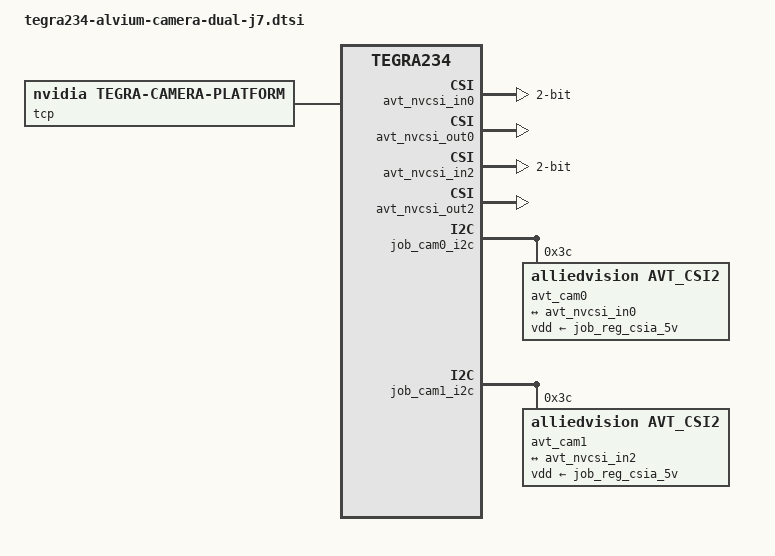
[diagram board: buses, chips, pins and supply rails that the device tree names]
/*
 * Copyright (c) 2022, NVIDIA CORPORATION.  All rights reserved.
 * Copyright (c) 2023 Antmicro <www.antmicro.com>
 * Copyright (c) 2026, University of Washington
 *
 * This program is free software; you can redistribute it and/or modify
 * it under the terms of the GNU General Public License as published by
 * the Free Software Foundation; either version 2 of the License, or
 * (at your option) any later version.
 *
 * This program is distributed in the hope that it will be useful, but WITHOUT
 * ANY WARRANTY; without even the implied warranty of MERCHANTABILITY or
 * FITNESS FOR A PARTICULAR PURPOSE.  See the GNU General Public License for
 * more details.
 *
 * You should have received a copy of the GNU General Public License
 * along with this program.  If not, see <http://www.gnu.org/licenses/>.
 */

/*
 * This DTSI file implements support for dual Allied Vision
 * Alvium 1800-C cameras attached to the J7 connector on the 
 * Antmicro Jetson Orin Baseboard (JOB) via a Capable Robot 
 * Y-flex cable
 *
 * We use only 2 lanes for each camera, independent of where
 * CSI3 is routed with R122/R108
 *
 * ====== Power management ======
 * CSI A and CSA B connectors feature GPIO-controlled 5V and 3V3 power
 * supplies. Alvium cameras use the 5V rails, controlled by following regulators:
 * - job_reg_csia_5v for CSI A
 * - job_reg_csib_5v for CSI B
 *
 *
 * Reset pins of Alvim are not routed on JOB and are pulled high, so GPIO
 * reset functionality is not available (?)
 *
 * Trigger pins for the Alvium are routed on JOB to the following nets:
 *
 * - Camera 0: VSYNC_CAM0_3V3 / VSYNC_CAM0 - SoM pin 114 - GPIO H.6
 * - Camera 1: VSYNC_CAM1_3V3 / VSYNC_CAM1 - SoM pin 120 - GPIO AC.0
 *
 * ====== I2C routing ======
 * - Camera 0: SCL/SDA_CAM0 (job_cam0_i2c)
 * - Camera 1: SCL/SDA_CAM1 (job_cam1_i2c)
 *
 * ====== CSI lane mapping ======
 * - Camera 0: CSI0 = CSI_A [CLK, D0, D1]
 * - Camera 1: CSI2 = CSI_C [CLK, D0, D1]
 *
 * ====== CSI lane polarity ======
 *
 * See Jetson Orin NX Design Guide DG-10931-001 fig.10-1.:
 * - CSI0_D1 is inverted on SoM
 * - CSI1_D0 is inverted on SoM
 */

// Force camera regulators on
&job_reg_csia_5v {
	/* @trisect The current avt_csi2 driver doesn't enable the 
	regulator on startup.

	This forces the regulator ON and keeps it on */
	regulator-always-on;
};

 // Camera nodes
 &job_cam0_i2c {
	status = "okay";

 	avt_cam0: camera@3c {
		status = "okay";
		compatible = "alliedvision,avt_csi2";
		reg = <0x3c>;
		nvidia,no-sensor-bus-introspection;
		vdd-supply = <&job_reg_csia_5v>;

		mode0 {
			mclk_khz = "24000";
			num_lanes = "2";
			tegra_sinterface = "serial_a";
			phy_mode = "DPHY";
			discontinuous_clk = "yes";
			dpcm_enable = "false";
			cil_settletime = "0";
			embedded_metadata_height = "0";

			/*
			 * even with a 2-lane camera this controls the whole
			 * SCIL - 4 lanes of both CSI 0 and CSI 1!
			 */
			lane_polarity = "6";

			csi_pixel_bit_depth = "4";
			active_w = "5488";
			active_h = "4112";
			pixel_t = "bayer_bggr";
			readout_orientation = "0";
			line_length = "5488";
			inherent_gain = "1";
			mclk_multiplier = "31.25";
			pix_clk_hz = "750000000";

			gain_factor = "16";
			framerate_factor = "1000000";
			exposure_factor = "1000000";
			
			min_gain_val = "16"; /* 1.0 */
			max_gain_val = "256"; /* 16.0 */
			step_gain_val = "1"; /* 0.125 */
			default_gain = "16"; /* 1.00x */

			min_hdr_ratio = "1";
			max_hdr_ratio = "64";
			min_framerate = "1500000"; /* 1.5 */
			max_framerate = "30000000"; /* 30 */
			step_framerate = "1";
			default_framerate = "10000000";

			min_exp_time = "34"; /* us */
			max_exp_time = "550385"; /* us */
			step_exp_time = "1";
			default_exp_time = "2495"; /* us */

		};

		ports {
			#address-cells = <1>;
			#size-cells = <0>;

			port@0 {
				reg = <0>;
				avt_cam0_out: endpoint {
					status = "okay";
					port-index = <0>;
					bus-width = <2>;
					data-lanes = <1 2>;
					clock-lanes = <0>;
					link-frequencies = /bits/ 64 <750000000>;
					remote-endpoint = <&avt_nvcsi_in0>;
				};
			};
		};
	};
};

&job_cam1_i2c {
	status = "okay";

	avt_cam1: camera@3c {
		compatible = "alliedvision,avt_csi2";
		reg = <0x3c>;
		nvidia,no-sensor-bus-introspection;
		vdd-supply = <&job_reg_csia_5v>;
		status = "okay";

		mode0 {
			mclk_khz = "24000";
			num_lanes = "2";
			tegra_sinterface = "serial_c";
			phy_mode = "DPHY";
			discontinuous_clk = "yes";
			dpcm_enable = "false";
			cil_settletime = "0";
			embedded_metadata_height = "0";

			csi_pixel_bit_depth = "4";
			active_w = "5488";
			active_h = "4112";
			pixel_t = "bayer_bggr";
			readout_orientation = "0";
			line_length = "5488";
			inherent_gain = "1";
			mclk_multiplier = "31.25";
			pix_clk_hz = "750000000";

			gain_factor = "16";
			framerate_factor = "1000000";
			exposure_factor = "1000000";
				
			min_gain_val = "16"; /* 1.0 */
			max_gain_val = "256"; /* 16.0 */
			step_gain_val = "1"; /* 0.125 */
			default_gain = "16"; /* 1.00x */

			min_hdr_ratio = "1";
			max_hdr_ratio = "64";
			min_framerate = "1500000"; /* 1.5 */
			max_framerate = "30000000"; /* 30 */
			step_framerate = "1";
			default_framerate = "10000000";

			min_exp_time = "34"; /* us */
			max_exp_time = "550385"; /* us */
			step_exp_time = "1";
			default_exp_time = "2495"; /* us */
		};

		ports {
			#address-cells = <1>;
			#size-cells = <0>;

			port@0 {
				reg = <0>;
				avt_cam1_out: endpoint {
					status = "okay";
					port-index = <2>;
					bus-width = <2>;
					data-lanes = <1 2>;
					clock-lanes = <0>;
					link-frequencies = /bits/ 64 <750000000>;
					remote-endpoint = <&avt_nvcsi_in2>;
				};
			};
		};
	};
};

&gpio {


	// Left stereo camera on J7
	// It uses VSYNC_CAM2_1 == pin 114 == CAM0_PWDN == GPIO3_PP.04 == gpiochip1.96
	vsync-cam2-1 {
		/*gpio-hog;*/
		output-low;
		gpios = <TEGRA234_MAIN_GPIO(H, 6) GPIO_ACTIVE_HIGH>;
		label = "avt_left_sync";
		status = "okay";
	};

	// Right stereo camera on J7
	// It uses VSYNC_CAM2_2 == pin 130 == GPIO06 == GPIO3_PCC.03 == gpiochip2.15
	//  == ball name "SPI2_CS0"
	//
	// Strangely, when enabled, it breaks access to the QSPI?
	//
	// vsync-cam2-2 {
	// 	gpio-hog;
	// 	output-low;
	// 	gpios = <TEGRA234_MAIN_GPIO(AC, 0) GPIO_ACTIVE_HIGH>;
	// 	label = "avt_right_sync";
	// 	status = "okay";
	// };

};

/ {
	bus@0 {
		host1x@13e00000 {
			nvcsi@15a00000 {
				num-channels = <3>;
				#address-cells = <1>;
				#size-cells = <0>;
				channel@0 {
					reg = <0>;
					status = "okay";
					ports {
						#address-cells = <1>;
						#size-cells = <0>;
						port@0 {
							status = "okay";
							reg = <0>;
							avt_nvcsi_in0: endpoint@0 {
								status = "okay";
								port-index = <0>;
								bus-width = <2>;
								remote-endpoint = <&avt_cam0_out>;
							};
						};
						port@1 {
							status = "okay";
							reg = <1>;
							avt_nvcsi_out0: endpoint@1 {
								status = "okay";
								remote-endpoint = <&avt_vi_in0>;
							};
						};
					};
				};
				channel@1 {
					status = "okay";
					reg = <1>;
					ports {
						#address-cells = <1>;
						#size-cells = <0>;
						port@0 {
							status = "okay";
							reg = <0>;
							avt_nvcsi_in2: endpoint@0 {
								status = "okay";
								port-index = <2>;
								bus-width = <2>;
								remote-endpoint = <&avt_cam1_out>;
							};
						};
						port@1 {
							status = "okay";
							reg = <1>;
							avt_nvcsi_out2: endpoint@1 {
								status = "okay";
								remote-endpoint = <&avt_vi_in2>;
							};
						};
					};
				};
			};
		};
	};

	tegra-capture-vi {
		num-channels = <2>;
		ports {
			#address-cells = <1>;
			#size-cells = <0>;
			port@0 {
				reg = <0>;
				status = "okay";
				avt_vi_in0: endpoint {
					status = "okay";
					port-index = <0>;
					bus-width = <2>;
					remote-endpoint = <&avt_nvcsi_out0>;
				};
			};
			port@1 {
				status = "okay";
				reg = <1>;
				avt_vi_in2: endpoint {
					status = "okay";
					port-index = <2>;
					bus-width = <2>;
					remote-endpoint = <&avt_nvcsi_out2>;
				};
			};
		};
	};

	tcp: tegra-camera-platform {
		compatible = "nvidia, tegra-camera-platform";
		status = "okay";
		/**
		* Physical settings to calculate max ISO BW
		*
		* num_csi_lanes = <>;
		* Total number of CSI lanes when all cameras are active
		*
		* max_lane_speed = <>;
		* Max lane speed in Kbit/s
		*
		* min_bits_per_pixel = <>;
		* Min bits per pixel
		*
		* vi_peak_byte_per_pixel = <>;
		* Max byte per pixel for the VI ISO case
		*
		* vi_bw_margin_pct = <>;
		* Vi bandwidth margin in percentage
		*
		* max_pixel_rate = <>;
		* Max pixel rate in Kpixel/s for the ISP ISO case
		*
		* isp_peak_byte_per_pixel = <>;
		* Max byte per pixel for the ISP ISO case
		*
		* isp_bw_margin_pct = <>;
		* Isp bandwidth margin in percentage
		*/
		num_csi_lanes = <4>;
		max_lane_speed = <1500000>;
		min_bits_per_pixel = <8>;
		vi_peak_byte_per_pixel = <2>;
		vi_bw_margin_pct = <25>;
		max_pixel_rate = <240000>;
		isp_peak_byte_per_pixel = <5>;
		isp_bw_margin_pct = <25>;
	};
};
